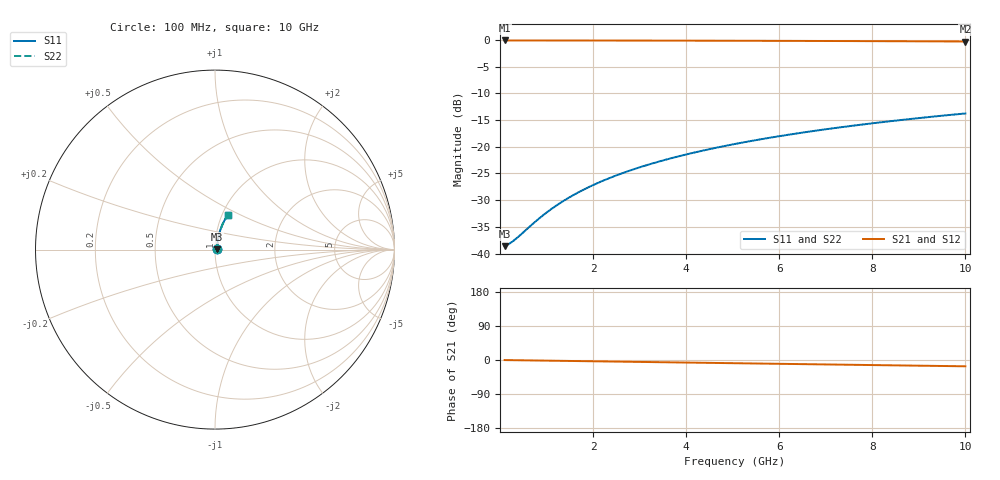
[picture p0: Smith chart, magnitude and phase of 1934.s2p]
# Hz S RI R 50.00
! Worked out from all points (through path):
!   100 points, 100 MHz to 10 GHz, reference 50 ohm
!   highest |S21| = -0.10 dB at 100 MHz (marker M1); lowest = -0.3 dB at 10 GHz (marker M2)
!   group delay of S21, straight-line fit = 4.62 ps
!   lowest |S11| = -38.6 dB at 100 MHz (marker M3), VSWR 1.02, Z = 51.2 + j0.212 ohm
!   |S11| at or under -10 dB: start of sweep to end of sweep
!   |S22| runs from -38.6 to -13.8 dB; largest |S21 - S12| = 0
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1e8  0.0115 0.00207  0.9885 -0.00291  0.9885 -0.00291  0.0115 0.00207
2e8  0.0116 0.00414  0.9884 -0.00581  0.9884 -0.00581  0.0116 0.00414
3e8  0.0117 0.0062  0.9883 -0.00872  0.9883 -0.00872  0.0117 0.0062
4e8  0.0118 0.00827  0.9882 -0.0116  0.9882 -0.0116  0.0118 0.00827
8e8  0.0122 0.0165  0.9878 -0.0232  0.9878 -0.0232  0.0122 0.0165
1.1e9  0.0126 0.0227  0.9873 -0.0319  0.9873 -0.0319  0.0126 0.0227
1.4e9  0.0131 0.0289  0.9868 -0.0406  0.9868 -0.0406  0.0131 0.0289
1.6e9  0.0135 0.033  0.9864 -0.0464  0.9864 -0.0464  0.0135 0.033
1.8e9  0.014 0.0371  0.9859 -0.0522  0.9859 -0.0522  0.014 0.0371
2.1e9  0.0147 0.0433  0.9851 -0.0609  0.9851 -0.0609  0.0147 0.0433
2.5e9  0.0159 0.0514  0.9839 -0.0724  0.9839 -0.0724  0.0159 0.0514
2.9e9  0.0173 0.0596  0.9824 -0.0839  0.9824 -0.0839  0.0173 0.0596
3.4e9  0.0192 0.0697  0.9804 -0.0982  0.9804 -0.0982  0.0192 0.0697
3.8e9  0.021 0.0777  0.9785 -0.1095  0.9785 -0.1095  0.021 0.0777
4.2e9  0.0229 0.0857  0.9764 -0.1209  0.9764 -0.1209  0.0229 0.0857
4.6e9  0.0251 0.0936  0.9742 -0.1321  0.9742 -0.1321  0.0251 0.0936
5.1e9  0.028 0.1034  0.9711 -0.1462  0.9711 -0.1462  0.028 0.1034
5.9e9  0.0332 0.1188  0.9655 -0.1683  0.9655 -0.1683  0.0332 0.1188
6.7e9  0.0392 0.134  0.9592 -0.1902  0.9592 -0.1902  0.0392 0.134
7.5e9  0.0457 0.1488  0.9522 -0.2117  0.9522 -0.2117  0.0457 0.1488
8.4e9  0.0539 0.1649  0.9435 -0.2355  0.9435 -0.2355  0.0539 0.1649
1e10  0.0703 0.1923  0.926 -0.2764  0.926 -0.2764  0.0703 0.1923
